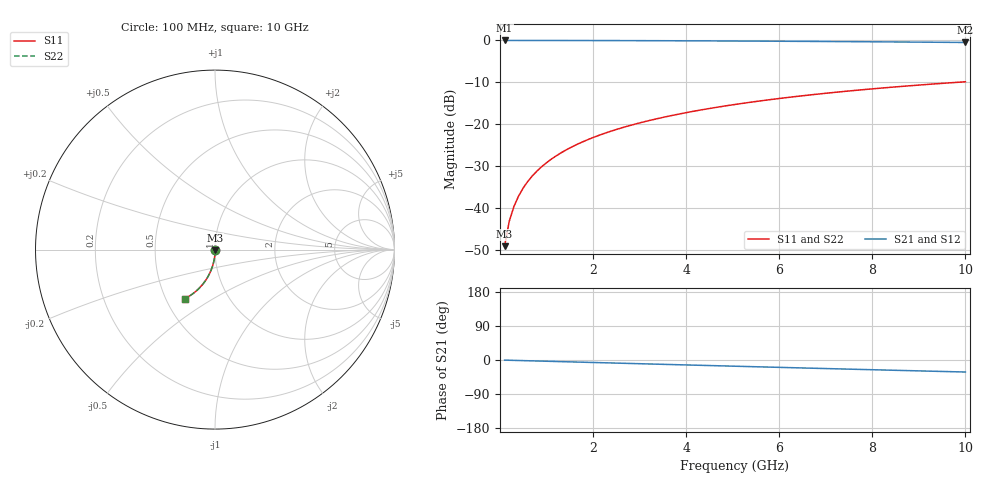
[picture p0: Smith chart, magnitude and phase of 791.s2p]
# Hz S RI R 50.00
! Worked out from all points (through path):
!   100 points, 100 MHz to 10 GHz, reference 50 ohm
!   highest |S21| = 0.00 dB at 100 MHz (marker M1); lowest = -0.5 dB at 10 GHz (marker M2)
!   group delay of S21, straight-line fit = 8.84 ps
!   lowest |S11| = -49.0 dB at 100 MHz (marker M3), VSWR 1.01, Z = 50.1 - j0.349 ohm
!   |S11| at or under -10 dB: start of sweep to 9.808 GHz
!   |S22| runs from -49.0 to -9.9 dB; largest |S21 - S12| = 0
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1e8  0.000515 -0.00349  0.9994 -0.00571  0.9994 -0.00571  0.000515 -0.00349
2e8  0.000455 -0.00698  0.9994 -0.0114  0.9994 -0.0114  0.000455 -0.00698
3e8  0.000353 -0.0105  0.9992 -0.0171  0.9992 -0.0171  0.000353 -0.0105
4e8  0.000212 -0.014  0.9991 -0.0228  0.9991 -0.0228  0.000212 -0.014
5e8  3.01e-05 -0.0174  0.9989 -0.0285  0.9989 -0.0285  3.01e-05 -0.0174
6e8  -0.000192 -0.0209  0.9986 -0.0342  0.9986 -0.0342  -0.000192 -0.0209
7e8  -0.000453 -0.0244  0.9983 -0.0399  0.9983 -0.0399  -0.000453 -0.0244
8e8  -0.000754 -0.0279  0.998 -0.0456  0.998 -0.0456  -0.000754 -0.0279
9e8  -0.0011 -0.0314  0.9976 -0.0513  0.9976 -0.0513  -0.0011 -0.0314
1.1e9  -0.0019 -0.0383  0.9967 -0.0627  0.9967 -0.0627  -0.0019 -0.0383
1.4e9  -0.00339 -0.0486  0.995 -0.0797  0.995 -0.0797  -0.00339 -0.0486
1.8e9  -0.00594 -0.0623  0.9921 -0.1022  0.9921 -0.1022  -0.00594 -0.0623
2.1e9  -0.00825 -0.0725  0.9895 -0.1191  0.9895 -0.1191  -0.00825 -0.0725
2.5e9  -0.0119 -0.086  0.9854 -0.1414  0.9854 -0.1414  -0.0119 -0.086
2.9e9  -0.0161 -0.0992  0.9807 -0.1635  0.9807 -0.1635  -0.0161 -0.0992
3.4e9  -0.0222 -0.1154  0.9738 -0.1908  0.9738 -0.1908  -0.0222 -0.1154
4.2e9  -0.0337 -0.1404  0.9607 -0.2337  0.9607 -0.2337  -0.0337 -0.1404
5.1e9  -0.0493 -0.167  0.9431 -0.2804  0.9431 -0.2804  -0.0493 -0.167
5.9e9  -0.0651 -0.1891  0.925 -0.3203  0.925 -0.3203  -0.0651 -0.1891
6.7e9  -0.0827 -0.2095  0.9049 -0.3587  0.9049 -0.3587  -0.0827 -0.2095
8.4e9  -0.1248 -0.2467  0.8562 -0.4342  0.8562 -0.4342  -0.1248 -0.2467
1e10  -0.1688 -0.2735  0.8044 -0.4974  0.8044 -0.4974  -0.1688 -0.2735
